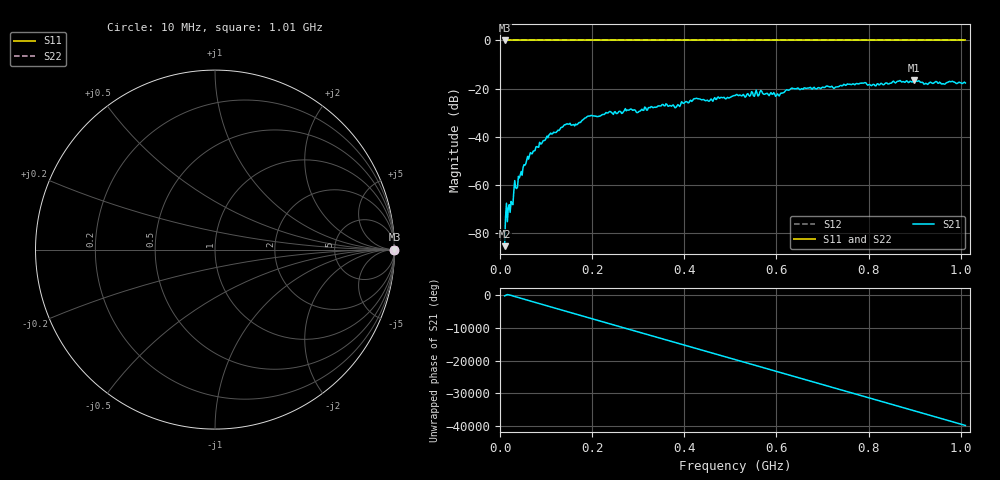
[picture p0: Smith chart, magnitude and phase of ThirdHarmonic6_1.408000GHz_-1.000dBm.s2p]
! 8/16/2025 4:08:01 PM
! C:\ANRITSUVNA\TEMP\TEMP.S2P
! CHANNEL.1
! TR.MEASUREMENT
! RAW.DATA
! RF.CORRECTION.OFF
! AVERAGING.OFF
! IF.BANDWIDTH: 5KHZ
! SWEEPTYPE:  FREQ.SWEEP(Linear)
! Reference Plane Port Info
! PORT:  PORT1  PORT2
! DISTANCE:  0  m  0  m
! TIME:  0  s  0  s
! PHASE.OFFSET:  0  deg.  0  deg.
! LOSS:  0  dB  0  dB
! REF.LOSS:  0  dB  0  dB
! REF.FREQ:  0  Hz  0  Hz
! Power Info
! POWER:  -20  dBm  -20  dBm
! EFF.POWER:  -20  dBm  -20  dBm
! SOURCE.ATTEN:  0  dB  0  dB
! TEST.ATTEN:  0  dB  0  dB
# GHZ S RI R 50.0
! FREQ.GHZ  S11RE  S11IM  S21RE  S21IM  S12RE  S12IM  S22RE  S22IM
!; PortSelection: Port_12
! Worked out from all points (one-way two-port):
!   501 points, 10 MHz to 1.01 GHz, reference 50 ohm
!   highest |S21| = -16.54 dB at 898 MHz (marker M1); lowest = -85.3 dB at 10 MHz (marker M2)
!   lowest |S11| = 0.0 dB at 10 MHz (marker M3)
!   |S11| at or under -10 dB: nowhere
!   |S22| runs from 0.0 to 0.0 dB; largest |S21 - S12| = 1.1
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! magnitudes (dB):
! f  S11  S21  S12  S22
! 10 MHz  0.0  -85.3  0.0  0.0
! 16 MHz  0.0  -75.1  0.0  0.0
! 26 MHz  0.0  -67.7  0.0  0.0
! 36 MHz  0.0  -61.4  0.0  0.0
! 64 MHz  0.0  -47.7  0.0  0.0
! 110 MHz  0.0  -38.4  0.0  0.0
! 142 MHz  0.0  -34.9  0.0  0.0
! 178 MHz  0.0  -33.1  0.0  0.0
! 234 MHz  0.0  -30.1  0.0  0.0
! 300 MHz  0.0  -29.7  0.0  0.0
! 344 MHz  0.0  -27.1  0.0  0.0
! 382 MHz  0.0  -27.7  0.0  0.0
! 424 MHz  0.0  -24.1  0.0  0.0
! 450 MHz  0.0  -24.7  0.0  0.0
! 510 MHz  0.0  -22.8  0.0  0.0
! 568 MHz  0.0  -21.1  0.0  0.0
! 602 MHz  0.0  -22.1  0.0  0.0
! 634 MHz  0.0  -19.7  0.0  0.0
! 678 MHz  0.0  -20.1  0.0  0.0
! 844 MHz  0.0  -18.0  0.0  0.0
! 898 MHz  0.0  -16.5  0.0  0.0
! 1.01 GHz  0.0  -17.6  0.0  0.0
